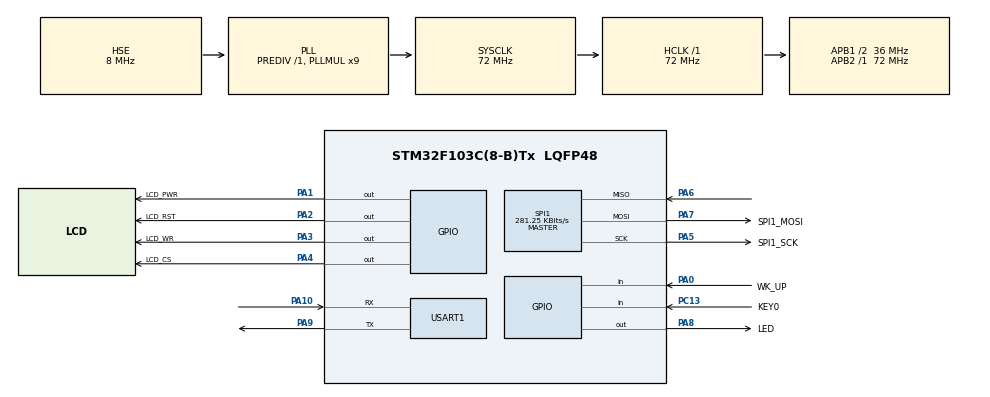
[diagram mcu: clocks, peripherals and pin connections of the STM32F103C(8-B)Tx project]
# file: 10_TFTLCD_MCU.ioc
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Mcu.Family=STM32F1
Mcu.Name=STM32F103C(8-B)Tx
Mcu.Package=LQFP48
NVIC.PriorityGroup=NVIC_PRIORITYGROUP_2
NVIC.USART1_IRQn=true\:2\:0\:true\:false\:true\:true\:true\:true
PA0-WKUP.GPIO_Label=WK_UP
PA0-WKUP.GPIO_PuPd=GPIO_PULLDOWN
PA0-WKUP.Signal=GPIO_Input
PA1.GPIO_Label=LCD_PWR
PA1.GPIO_PuPd=GPIO_PULLUP
PA1.GPIO_Speed=GPIO_SPEED_FREQ_HIGH
PA1.PinState=GPIO_PIN_SET
PA1.Signal=GPIO_Output
PA10.Mode=Asynchronous
PA10.Signal=USART1_RX
PA13.Mode=Serial_Wire
PA13.Signal=SYS_JTMS-SWDIO
PA14.Mode=Serial_Wire
PA14.Signal=SYS_JTCK-SWCLK
PA2.GPIO_Label=LCD_RST
PA2.GPIO_PuPd=GPIO_PULLUP
PA2.GPIO_Speed=GPIO_SPEED_FREQ_HIGH
PA2.PinState=GPIO_PIN_SET
PA2.Signal=GPIO_Output
PA3.GPIO_Label=LCD_WR
PA3.GPIO_PuPd=GPIO_PULLUP
PA3.GPIO_Speed=GPIO_SPEED_FREQ_HIGH
PA3.PinState=GPIO_PIN_SET
PA3.Signal=GPIO_Output
PA4.GPIO_Label=LCD_CS
PA4.GPIO_PuPd=GPIO_PULLUP
PA4.GPIO_Speed=GPIO_SPEED_FREQ_HIGH
PA4.PinState=GPIO_PIN_SET
PA4.Signal=GPIO_Output
PA5.GPIO_Label=SPI1_SCK
PA5.Mode=Full_Duplex_Master
PA5.Signal=SPI1_SCK
PA6.Mode=Full_Duplex_Master
PA6.Signal=SPI1_MISO
PA7.GPIO_Label=SPI1_MOSI
PA7.Mode=Full_Duplex_Master
PA7.Signal=SPI1_MOSI
PA8.GPIO_Label=LED
PA8.GPIO_PuPd=GPIO_PULLUP
PA8.GPIO_Speed=GPIO_SPEED_FREQ_HIGH
PA8.PinState=GPIO_PIN_SET
PA8.Signal=GPIO_Output
PA9.Mode=Asynchronous
PA9.Signal=USART1_TX
PC13-TAMPER-RTC.GPIO_Label=KEY0
PC13-TAMPER-RTC.GPIO_PuPd=GPIO_PULLUP
PC13-TAMPER-RTC.Signal=GPIO_Input
PC14-OSC32_IN.Mode=LSE-External-Oscillator
PC14-OSC32_IN.Signal=RCC_OSC32_IN
PC15-OSC32_OUT.Mode=LSE-External-Oscillator
PC15-OSC32_OUT.Signal=RCC_OSC32_OUT
PD0-OSC_IN.Mode=HSE-External-Oscillator
PD0-OSC_IN.Signal=RCC_OSC_IN
PD1-OSC_OUT.Mode=HSE-External-Oscillator
PD1-OSC_OUT.Signal=RCC_OSC_OUT
ProjectManager.HeapSize=0x200
ProjectManager.StackSize=0x400
ProjectManager.TargetToolchain=STM32CubeIDE
RCC.AHBFreq_Value=72000000
RCC.APB1CLKDivider=RCC_HCLK_DIV2
RCC.APB1Freq_Value=36000000
RCC.APB1TimFreq_Value=72000000
RCC.APB2Freq_Value=72000000
RCC.APB2TimFreq_Value=72000000
RCC.HCLKFreq_Value=72000000
RCC.PLLMUL=RCC_PLL_MUL9
RCC.PLLSourceVirtual=RCC_PLLSOURCE_HSE
RCC.SYSCLKFreq_VALUE=72000000
RCC.SYSCLKSource=RCC_SYSCLKSOURCE_PLLCLK
RCC.USBFreq_Value=72000000
SPI1.BaudRatePrescaler=SPI_BAUDRATEPRESCALER_256
SPI1.CLKPhase=SPI_PHASE_2EDGE
SPI1.CLKPolarity=SPI_POLARITY_HIGH
SPI1.CalculateBaudRate=281.25 KBits/s
SPI1.Direction=SPI_DIRECTION_2LINES
SPI1.Mode=SPI_MODE_MASTER
SPI1.VirtualType=VM_MASTER
USART1.VirtualMode=VM_ASYNC
board=custom

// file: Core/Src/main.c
/**
 ****************************************************************************************************
 * @file        main.c
 * @author      ALIENTEK
 * @brief       TFTLCD_MCU code
 * @license     Copyright (C) 2020-2032, ALIENTEK
 ****************************************************************************************************
 * @attention
 *
 * platform  	: ALIENTEK STM32F103 development board
 * website		: https://www.alientek.com
 * forum		: http://www.openedv.com/forum.php
 *
 * change logs	:
 * version		data		notes
 * V1.0			20240222	the first version
 *
 ****************************************************************************************************
 */

/* USER CODE BEGIN Header */

/* USER CODE END Header */
#include "main.h"
#include "spi.h"
#include "usart.h"
#include "gpio.h"

/* USER CODE BEGIN Includes */
#include "../../BSP/LED/led.h"
#include "../../BSP/KEY/key.h"
#include "../../BSP/LCD/lcd.h"
/* USER CODE END Includes */

void SystemClock_Config(void);

/* USER CODE BEGIN 0 */

void stm32f103c8t6_show_mesg(void)
{
	/* The serial port outputs the experimental information */
	printf("\n");
	printf("********************************\r\n");
	printf("STM32F103\r\n");
	printf("ATK-MD0130 Test\r\n");
	printf("ATOM@ALIENTEK\r\n");
	printf("********************************\r\n");
	printf("\r\n");
}

/* USER CODE END 0 */

int main(void)
{

  /* MCU Configuration--------------------------------------------------------*/

  /* Reset of all peripherals, Initializes the Flash interface and the Systick. */
  HAL_Init();

  /* Configure the system clock */
  SystemClock_Config();

  /* Initialize all configured peripherals */
  MX_GPIO_Init();
  MX_USART1_UART_Init();
  MX_SPI1_Init();
  /* USER CODE BEGIN 2 */

  stm32f103c8t6_show_mesg();
  lcd_init();
  lcd_show_string(0, 5, 240, 32, 32, "STM32F103C8T6", RED);
  lcd_show_string(0, 34, 240, 24, 24, "ATK-MD0130", RED);
  lcd_show_string(0, 60, 240, 16, 16, "ATOM@ALIENTEK", RED);

  /* USER CODE END 2 */

  /* Infinite loop */
  /* USER CODE BEGIN WHILE */
  while (1)
  {
	  LED_TOGGLE();       /* LED state is flipped */
	  HAL_Delay(500);
    /* USER CODE END WHILE */

  }
}

void SystemClock_Config(void)
{
  RCC_OscInitTypeDef RCC_OscInitStruct = {0};
  RCC_ClkInitTypeDef RCC_ClkInitStruct = {0};

  /** Initializes the RCC Oscillators according to the specified parameters
  * in the RCC_OscInitTypeDef structure.
  */
  RCC_OscInitStruct.OscillatorType = RCC_OSCILLATORTYPE_HSE;
  RCC_OscInitStruct.HSEState = RCC_HSE_ON;
  RCC_OscInitStruct.HSEPredivValue = RCC_HSE_PREDIV_DIV1;
  RCC_OscInitStruct.HSIState = RCC_HSI_ON;
  RCC_OscInitStruct.PLL.PLLState = RCC_PLL_ON;
  RCC_OscInitStruct.PLL.PLLSource = RCC_PLLSOURCE_HSE;
  RCC_OscInitStruct.PLL.PLLMUL = RCC_PLL_MUL9;
  if (HAL_RCC_OscConfig(&RCC_OscInitStruct) != HAL_OK)
  {
    Error_Handler();
  }

  /** Initializes the CPU, AHB and APB buses clocks
  */
  RCC_ClkInitStruct.ClockType = RCC_CLOCKTYPE_HCLK|RCC_CLOCKTYPE_SYSCLK
                              |RCC_CLOCKTYPE_PCLK1|RCC_CLOCKTYPE_PCLK2;
  RCC_ClkInitStruct.SYSCLKSource = RCC_SYSCLKSOURCE_PLLCLK;
  RCC_ClkInitStruct.AHBCLKDivider = RCC_SYSCLK_DIV1;
  RCC_ClkInitStruct.APB1CLKDivider = RCC_HCLK_DIV2;
  RCC_ClkInitStruct.APB2CLKDivider = RCC_HCLK_DIV1;

  if (HAL_RCC_ClockConfig(&RCC_ClkInitStruct, FLASH_LATENCY_2) != HAL_OK)
  {
    Error_Handler();
  }
}

void Error_Handler(void)
{
  __disable_irq();
  while (1)
  {
  }
}
